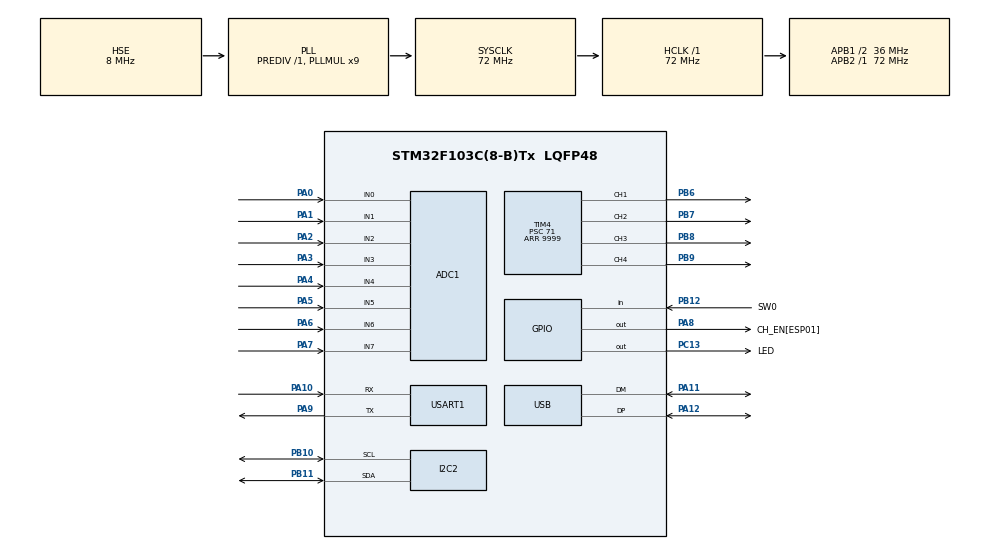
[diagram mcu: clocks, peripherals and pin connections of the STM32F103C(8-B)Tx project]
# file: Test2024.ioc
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ADC1.Channel-0\#ChannelRegularConversion=ADC_CHANNEL_0
ADC1.Channel-1\#ChannelRegularConversion=ADC_CHANNEL_1
ADC1.Channel-2\#ChannelRegularConversion=ADC_CHANNEL_2
ADC1.Channel-3\#ChannelRegularConversion=ADC_CHANNEL_3
ADC1.Channel-4\#ChannelRegularConversion=ADC_CHANNEL_4
ADC1.Channel-5\#ChannelRegularConversion=ADC_CHANNEL_5
ADC1.Channel-6\#ChannelRegularConversion=ADC_CHANNEL_6
ADC1.Channel-7\#ChannelRegularConversion=ADC_CHANNEL_7
ADC1.NbrOfConversion=8
ADC1.NbrOfConversionFlag=1
ADC1.Rank-0\#ChannelRegularConversion=1
ADC1.Rank-1\#ChannelRegularConversion=2
ADC1.Rank-2\#ChannelRegularConversion=3
ADC1.Rank-3\#ChannelRegularConversion=4
ADC1.Rank-4\#ChannelRegularConversion=5
ADC1.Rank-5\#ChannelRegularConversion=6
ADC1.Rank-6\#ChannelRegularConversion=7
ADC1.Rank-7\#ChannelRegularConversion=8
ADC1.SamplingTime-0\#ChannelRegularConversion=ADC_SAMPLETIME_13CYCLES_5
ADC1.SamplingTime-1\#ChannelRegularConversion=ADC_SAMPLETIME_13CYCLES_5
ADC1.SamplingTime-2\#ChannelRegularConversion=ADC_SAMPLETIME_13CYCLES_5
ADC1.SamplingTime-3\#ChannelRegularConversion=ADC_SAMPLETIME_13CYCLES_5
ADC1.SamplingTime-4\#ChannelRegularConversion=ADC_SAMPLETIME_13CYCLES_5
ADC1.SamplingTime-5\#ChannelRegularConversion=ADC_SAMPLETIME_13CYCLES_5
ADC1.SamplingTime-6\#ChannelRegularConversion=ADC_SAMPLETIME_13CYCLES_5
ADC1.SamplingTime-7\#ChannelRegularConversion=ADC_SAMPLETIME_13CYCLES_5
ADC1.master=1
Dma.ADC1.0.Direction=DMA_PERIPH_TO_MEMORY
Dma.ADC1.0.Instance=DMA1_Channel1
Dma.ADC1.0.MemDataAlignment=DMA_MDATAALIGN_HALFWORD
Dma.ADC1.0.MemInc=DMA_MINC_ENABLE
Dma.ADC1.0.Mode=DMA_NORMAL
Dma.ADC1.0.PeriphDataAlignment=DMA_PDATAALIGN_HALFWORD
Dma.ADC1.0.PeriphInc=DMA_PINC_DISABLE
Dma.ADC1.0.Priority=DMA_PRIORITY_LOW
Dma.I2C2_RX.1.Direction=DMA_PERIPH_TO_MEMORY
Dma.I2C2_RX.1.Instance=DMA1_Channel5
Dma.I2C2_RX.1.MemDataAlignment=DMA_MDATAALIGN_BYTE
Dma.I2C2_RX.1.MemInc=DMA_MINC_ENABLE
Dma.I2C2_RX.1.Mode=DMA_NORMAL
Dma.I2C2_RX.1.PeriphDataAlignment=DMA_PDATAALIGN_BYTE
Dma.I2C2_RX.1.PeriphInc=DMA_PINC_DISABLE
Dma.I2C2_RX.1.Priority=DMA_PRIORITY_LOW
Dma.I2C2_TX.2.Direction=DMA_MEMORY_TO_PERIPH
Dma.I2C2_TX.2.Instance=DMA1_Channel4
Dma.I2C2_TX.2.MemDataAlignment=DMA_MDATAALIGN_BYTE
Dma.I2C2_TX.2.MemInc=DMA_MINC_ENABLE
Dma.I2C2_TX.2.Mode=DMA_NORMAL
Dma.I2C2_TX.2.PeriphDataAlignment=DMA_PDATAALIGN_BYTE
Dma.I2C2_TX.2.PeriphInc=DMA_PINC_DISABLE
Dma.I2C2_TX.2.Priority=DMA_PRIORITY_LOW
Dma.Request0=ADC1
Dma.Request1=I2C2_RX
Dma.Request2=I2C2_TX
I2C2.I2C_Mode=I2C_Fast
Mcu.Family=STM32F1
Mcu.Name=STM32F103C(8-B)Tx
Mcu.Package=LQFP48
NVIC.DMA1_Channel1_IRQn=true\:0\:0\:false\:false\:true\:false\:true\:true
NVIC.DMA1_Channel4_IRQn=true\:0\:0\:false\:false\:true\:false\:true\:true
NVIC.DMA1_Channel5_IRQn=true\:0\:0\:false\:false\:true\:false\:true\:true
NVIC.I2C2_EV_IRQn=true\:0\:0\:false\:false\:true\:true\:true\:true
NVIC.PriorityGroup=NVIC_PRIORITYGROUP_4
NVIC.TIM1_UP_IRQn=true\:0\:0\:false\:false\:true\:true\:true\:true
NVIC.USART1_IRQn=true\:0\:0\:false\:false\:true\:true\:true\:true
NVIC.USB_LP_CAN1_RX0_IRQn=true\:0\:0\:false\:false\:true\:false\:true\:true
PA0-WKUP.Signal=ADCx_IN0
PA1.Signal=ADCx_IN1
PA10.Mode=Asynchronous
PA10.Signal=USART1_RX
PA11.Mode=Device
PA11.Signal=USB_DM
PA12.Mode=Device
PA12.Signal=USB_DP
PA13.Mode=Serial_Wire
PA13.Signal=SYS_JTMS-SWDIO
PA14.Mode=Serial_Wire
PA14.Signal=SYS_JTCK-SWCLK
PA2.Signal=ADCx_IN2
PA3.Signal=ADCx_IN3
PA4.Signal=ADCx_IN4
PA5.Signal=ADCx_IN5
PA6.Signal=ADCx_IN6
PA7.Signal=ADCx_IN7
PA8.GPIO_Label=CH_EN[ESP01]
PA8.Signal=GPIO_Output
PA9.Mode=Asynchronous
PA9.Signal=USART1_TX
PB10.Mode=I2C
PB10.Signal=I2C2_SCL
PB11.Mode=I2C
PB11.Signal=I2C2_SDA
PB12.GPIO_Label=SW0
PB12.Signal=GPIO_Input
PB6.Signal=S_TIM4_CH1
PB7.Signal=S_TIM4_CH2
PB8.Signal=S_TIM4_CH3
PB9.Signal=S_TIM4_CH4
PC13-TAMPER-RTC.GPIO_Label=LED
PC13-TAMPER-RTC.Signal=GPIO_Output
PC14-OSC32_IN.Mode=LSE-External-Oscillator
PC14-OSC32_IN.Signal=RCC_OSC32_IN
PC15-OSC32_OUT.Mode=LSE-External-Oscillator
PC15-OSC32_OUT.Signal=RCC_OSC32_OUT
PD0-OSC_IN.Mode=HSE-External-Oscillator
PD0-OSC_IN.Signal=RCC_OSC_IN
PD1-OSC_OUT.Mode=HSE-External-Oscillator
PD1-OSC_OUT.Signal=RCC_OSC_OUT
ProjectManager.HeapSize=0x200
ProjectManager.StackSize=0x400
ProjectManager.TargetToolchain=STM32CubeIDE
RCC.ADCPresc=RCC_ADCPCLK2_DIV6
RCC.AHBFreq_Value=72000000
RCC.APB1CLKDivider=RCC_HCLK_DIV2
RCC.APB1Freq_Value=36000000
RCC.APB1TimFreq_Value=72000000
RCC.APB2Freq_Value=72000000
RCC.APB2TimFreq_Value=72000000
RCC.HCLKFreq_Value=72000000
RCC.PLLMUL=RCC_PLL_MUL9
RCC.SYSCLKFreq_VALUE=72000000
RCC.SYSCLKSource=RCC_SYSCLKSOURCE_PLLCLK
RCC.USBFreq_Value=48000000
RCC.USBPrescaler=RCC_USBCLKSOURCE_PLL_DIV1_5
SH.ADCx_IN0.0=ADC1_IN0,IN0
SH.ADCx_IN1.0=ADC1_IN1,IN1
SH.ADCx_IN2.0=ADC1_IN2,IN2
SH.ADCx_IN3.0=ADC1_IN3,IN3
SH.ADCx_IN4.0=ADC1_IN4,IN4
SH.ADCx_IN5.0=ADC1_IN5,IN5
SH.ADCx_IN6.0=ADC1_IN6,IN6
SH.ADCx_IN7.0=ADC1_IN7,IN7
SH.S_TIM4_CH1.0=TIM4_CH1,PWM Generation1 CH1
SH.S_TIM4_CH2.0=TIM4_CH2,PWM Generation2 CH2
SH.S_TIM4_CH3.0=TIM4_CH3,PWM Generation3 CH3
SH.S_TIM4_CH4.0=TIM4_CH4,PWM Generation4 CH4
TIM1.Period=249
TIM1.Prescaler=71
TIM4.Channel-PWM\ Generation1\ CH1=TIM_CHANNEL_1
TIM4.Channel-PWM\ Generation2\ CH2=TIM_CHANNEL_2
TIM4.Channel-PWM\ Generation3\ CH3=TIM_CHANNEL_3
TIM4.Channel-PWM\ Generation4\ CH4=TIM_CHANNEL_4
TIM4.Period=9999
TIM4.Prescaler=71
USART1.VirtualMode=VM_ASYNC
USB_DEVICE.APP_RX_DATA_SIZE=256
USB_DEVICE.APP_TX_DATA_SIZE=256
USB_DEVICE.CLASS_NAME_FS=CDC
USB_DEVICE.PID_CDC_FS=0x5740
USB_DEVICE.VID=0x483
USB_DEVICE.VirtualMode=Cdc
USB_DEVICE.VirtualModeFS=Cdc_FS
VP_TIM1_VS_ClockSourceINT.Mode=Internal
VP_TIM4_VS_ClockSourceINT.Mode=Internal
VP_USB_DEVICE_VS_USB_DEVICE_CDC_FS.Mode=CDC_FS
board=custom

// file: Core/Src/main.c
/* USER CODE BEGIN Header */
/**
  ******************************************************************************
  * @file           : main.c
  * @brief          : Main program body
  ******************************************************************************
  * @attention
  *
  * Copyright (c) 2024 STMicroelectronics.
  * All rights reserved.
  *
  * This software is licensed under terms that can be found in the LICENSE file
  * in the root directory of this software component.
  * If no LICENSE file comes with this software, it is provided AS-IS.
  *
  ******************************************************************************
  */
/* USER CODE END Header */
#include "main.h"
#include "usb_device.h"

/* USER CODE BEGIN Includes */
#include "usbd_cdc_if.h"
#include "ESP01.h"
#include "UNERBUS.h"
#include "mpu6050.h"
#include "ssd1306.h"
#include "fonts.h"
#include <string.h>
//
/* USER CODE END Includes */

/* USER CODE BEGIN PTD */
typedef union{
	struct{
		uint8_t	ON10MS:	1;
		uint8_t	b1:	1;
		uint8_t	b2:	1;
		uint8_t	b3:	1;
		uint8_t	b4:	1;
		uint8_t	b5:	1;
		uint8_t	b6:	1;
		uint8_t	b7:	1;
	} bit;
	uint8_t byte;
} _uFlag;

typedef union{
	uint8_t		u8[4];
	int8_t		i8[4];
	uint16_t	u16[2];
	int16_t		i16[2];
	uint32_t	u32;
	int32_t		i32;
} _uWork;

typedef enum{
    ACK=0x0D,
    GETALIVE=0xF0,
    STARTCONFIG=0xEE,
    FIRMWARE=0xF1,
    LEDS=0x10,
    PULSADORES=0x12,
    MPU = 0xA2,
    LAST_ADC = 0xA0,
    TEST_MOTORES = 0xA1,
    VELOCIDAD_MOTORES = 0xA4,
    SETMINMAXSERVO = 0xA5,
    SETSENSORSBLACK = 0xA6,
    SETSENSORSWHITE = 0xA7,
    GETSERVOANGLE = 0xA8,
    OTHERS
}_eID;

typedef struct{
	uint16_t buf[64][8];
	uint8_t iBuf;
	uint16_t FilterResults[8];
}_sADC;

typedef struct {
    uint16_t distance;
    uint16_t analogicValue;
}_sLookUpPair;

typedef struct {
    uint16_t Distance[8];
}_sIRInterpolation;

//
/* USER CODE END PTD */

/* USER CODE BEGIN PD */
#define SIZEBUFADC				64
#define SIZEBUFRXPC				128
#define SIZEBUFTXPC				256
#define SIZEBUFRXESP01			128
#define SIZEBUFTXESP01			128
#define SIZEBUFI2C				64

#define	HEARTBEAT_IDLE			0xF4000000
#define	HEARTBEAT_WIFI_READY	0xF5000000
#define	HEARTBEAT_UDP_READY		0xF5400000

#define WIFI_SSID				"POCOX3"
#define WIFI_PASSWORD			"cosocoso"

#define WIFI_UDP_REMOTE_IP		"192.168.79.88"		//La IP de la PC
//#define WIFI_UDP_REMOTE_IP		"192.168.1.18"		//La IP de la PC
#define WIFI_UDP_REMOTE_PORT	30010					//El puerto UDP en la PC
#define WIFI_UDP_LOCAL_PORT		30000

#define I2C_SSD1306_ADDR        (0x3C << 1)
#define I2C_MPU6050_ADDR 		0xD0

#define UPDATEPOSITION			flag1.bit.b1
#define UPDATESCREEN			flag1.bit.b2
#define DODINAMICFILTER			flag1.bit.b3
#define NUM_SENSORS				8
#define WINDOW_SIZE				40
#define Display_WIDTH			128
#define Display_HEIGHT			64

/* USER CODE END PD */

ADC_HandleTypeDef hadc1;
DMA_HandleTypeDef hdma_adc1;

I2C_HandleTypeDef hi2c2;
DMA_HandleTypeDef hdma_i2c2_rx;
DMA_HandleTypeDef hdma_i2c2_tx;

TIM_HandleTypeDef htim1;
TIM_HandleTypeDef htim4;

UART_HandleTypeDef huart1;

/* USER CODE BEGIN PV */
_uWork w;
_uFlag flag1;
_sADC ADC;
_sLookUpPair lookUpPair[] = {
	{100, 92}, {98, 100}, {96, 108}, {94, 117}, {92, 126},
	{90, 136}, {88, 147}, {86, 159}, {84, 171}, {82, 184},
	{80, 199}, {78, 215}, {76, 232}, {74, 250}, {72, 270},
	{70, 292}, {68, 315}, {66, 341}, {64, 370}, {62, 401},
	{60, 436}, {58, 475}, {56, 518}, {54, 565}, {52, 619},
	{50, 679}, {48, 748}, {46, 825}, {44, 914}, {42, 1017},
	{40, 1135}, {38, 1274}, {36, 1436}, {34, 1630}, {32, 1862},
	{30, 2143}, {28, 2489}, {26, 2920}, {24, 3468}, {22, 4176},
};
_sIRInterpolation IRInterpolation;
uint8_t NUM_PAIRS;

_sESP01Handle esp01;
_sUNERBUSHandle unerbusPC;
_sUNERBUSHandle unerbusESP01;
uint16_t currentI2CDeviceAddress;

//_sMPU6050 myMPU;
MPU6050_t MPU6050[SIZEBUFI2C];
uint8_t iwMPU, irMPU;

char localIP[16];
uint8_t bufRXPC[SIZEBUFRXPC], bufTXPC[SIZEBUFTXPC];
uint8_t bufRXESP01[SIZEBUFRXESP01], bufTXESP01[SIZEBUFTXESP01], dataRXESP01;

uint32_t heartbeat, heartbeatmask;
uint8_t time10ms, time100ms, timeOutAliveUDP;

//uint8_t UPDATESCREEN;

char strAux[64];

const uint8_t myDesignBKG[] __attribute__ ((section (".eeprom"), used)) = {
		0x00, 0x00, 0x00, 0x00, 0x00, 0x00, 0x00, 0x01, 0x00, 0x00, 0x00, 0x00, 0x00, 0x00, 0x00, 0x00,
		0x00, 0x00, 0x00, 0x00, 0x00, 0x00, 0x00, 0x01, 0x00, 0x00, 0x00, 0x00, 0x00, 0x00, 0x00, 0x00,
		0x00, 0x00, 0x00, 0x00, 0x00, 0x00, 0x00, 0x01, 0x00, 0x00, 0x00, 0x00, 0x00, 0x00, 0x00, 0x00,
		0x00, 0x00, 0x00, 0x00, 0x00, 0x00, 0x00, 0x01, 0x00, 0x00, 0x00, 0x00, 0x00, 0x00, 0x00, 0x00,
		0x00, 0x00, 0x00, 0x00, 0x00, 0x00, 0x00, 0x01, 0x00, 0x00, 0x00, 0x00, 0x00, 0x00, 0x00, 0x00,
		0x00, 0x00, 0x00, 0x00, 0x00, 0x00, 0x00, 0x01, 0x00, 0x00, 0x00, 0x00, 0x00, 0x00, 0x00, 0x00,
		0x00, 0x00, 0x00, 0x00, 0x00, 0x00, 0x00, 0x01, 0x00, 0x00, 0x00, 0x00, 0x00, 0x00, 0x00, 0x00,
		0x00, 0x00, 0x00, 0x00, 0x00, 0x00, 0x00, 0x01, 0x00, 0x00, 0x00, 0x00, 0x00, 0x00, 0x00, 0x00,
		0x00, 0x00, 0x00, 0x00, 0x00, 0x00, 0x00, 0x01, 0x00, 0x00, 0x00, 0x00, 0x00, 0x00, 0x00, 0x00,
		0x00, 0x00, 0x00, 0x00, 0x00, 0x00, 0x00, 0x01, 0x00, 0x00, 0x00, 0x00, 0x00, 0x00, 0x00, 0x00,
		0x00, 0x00, 0x00, 0x00, 0x00, 0x00, 0x00, 0x01, 0x00, 0x00, 0x00, 0x00, 0x00, 0x00, 0x00, 0x00,
		0x00, 0x00, 0x00, 0x00, 0x00, 0x00, 0x00, 0x01, 0x00, 0x00, 0x00, 0x00, 0x00, 0x00, 0x00, 0x00,
		0x00, 0x00, 0x00, 0x00, 0x00, 0x00, 0x00, 0x01, 0x00, 0x00, 0x00, 0x00, 0x00, 0x00, 0x00, 0x00,
		0x00, 0x00, 0x00, 0x00, 0x00, 0x00, 0x00, 0x01, 0x00, 0x00, 0x00, 0x00, 0x00, 0x00, 0x00, 0x00,
		0xff, 0xff, 0xff, 0xff, 0xff, 0xff, 0xff, 0xff, 0xff, 0xff, 0xff, 0xff, 0xff, 0xff, 0xff, 0xff,
		0x00, 0x00, 0x00, 0x00, 0x00, 0x00, 0x00, 0x00, 0x00, 0x00, 0x00, 0x00, 0x00, 0x00, 0x00, 0x00,
		0x00, 0x00, 0x00, 0x00, 0x00, 0x00, 0x00, 0x00, 0x00, 0x00, 0x00, 0x00, 0x00, 0x00, 0x00, 0x00,
		0x00, 0x00, 0x00, 0x00, 0x00, 0x00, 0x00, 0x00, 0x00, 0x00, 0x00, 0x00, 0x00, 0x00, 0x00, 0x00,
		0x00, 0x00, 0x00, 0x00, 0x00, 0x00, 0x00, 0x00, 0x00, 0x00, 0x00, 0x00, 0x00, 0x00, 0x00, 0x00,
		0x00, 0x00, 0x00, 0x00, 0x00, 0x00, 0x00, 0x00, 0x00, 0x00, 0x00, 0x00, 0x00, 0x00, 0x00, 0x00,
		0x00, 0x00, 0x00, 0x00, 0x00, 0x00, 0x00, 0x00, 0x00, 0x00, 0x00, 0x00, 0x00, 0x00, 0x00, 0x00,
		0x00, 0x00, 0x00, 0x00, 0x00, 0x00, 0x00, 0x00, 0x00, 0x00, 0x00, 0x00, 0x00, 0x00, 0x00, 0x00,
		0x00, 0x00, 0x00, 0x00, 0x00, 0x00, 0x00, 0x00, 0x00, 0x00, 0x00, 0x00, 0x00, 0x00, 0x00, 0x00,
		0x00, 0x00, 0x00, 0x00, 0x00, 0x00, 0x00, 0x00, 0x00, 0x00, 0x00, 0x00, 0x00, 0x00, 0x00, 0x00,
		0x00, 0x00, 0x00, 0x00, 0x00, 0x00, 0x00, 0x00, 0x00, 0x00, 0x00, 0x00, 0x00, 0x00, 0x00, 0x00,
		0x00, 0x00, 0x00, 0x00, 0x00, 0x00, 0x00, 0x00, 0x00, 0x00, 0x00, 0x00, 0x00, 0x00, 0x00, 0x00,
		0x00, 0x00, 0x00, 0x00, 0x00, 0x00, 0x00, 0x00, 0x00, 0x00, 0x00, 0x00, 0x00, 0x00, 0x00, 0x00,
		0x00, 0x00, 0x00, 0x00, 0x00, 0x00, 0x00, 0x00, 0x00, 0x00, 0x00, 0x00, 0x00, 0x00, 0x00, 0x00,
		0x00, 0x00, 0x00, 0x00, 0x00, 0x00, 0x00, 0x00, 0x00, 0x00, 0x00, 0x00, 0x00, 0x00, 0x00, 0x00,
		0x00, 0x00, 0x00, 0x00, 0x00, 0x00, 0x00, 0x00, 0x00, 0x00, 0x00, 0x00, 0x00, 0x00, 0x00, 0x00,
		0x00, 0x00, 0x00, 0x00, 0x00, 0x00, 0x00, 0x00, 0x00, 0x00, 0x00, 0x00, 0x00, 0x00, 0x00, 0x00,
		0x00, 0x00, 0x00, 0x00, 0x00, 0x00, 0x00, 0x00, 0x00, 0x00, 0x00, 0x00, 0x00, 0x00, 0x00, 0x00,
		0x00, 0x00, 0x00, 0x00, 0x00, 0x00, 0x00, 0x00, 0x00, 0x00, 0x00, 0x00, 0x00, 0x00, 0x00, 0x00,
		0x00, 0x00, 0x00, 0x00, 0x00, 0x00, 0x00, 0x00, 0x00, 0x00, 0x00, 0x00, 0x00, 0x00, 0x00, 0x00,
		0x00, 0x00, 0x00, 0x00, 0x00, 0x00, 0x00, 0x00, 0x00, 0x00, 0x00, 0x00, 0x00, 0x00, 0x00, 0x00,
		0x00, 0x00, 0x00, 0x00, 0x00, 0x00, 0x00, 0x00, 0x00, 0x00, 0x00, 0x00, 0x00, 0x00, 0x00, 0x00,
		0x00, 0x00, 0x00, 0x00, 0x00, 0x00, 0x00, 0x00, 0x00, 0x00, 0x00, 0x00, 0x00, 0x00, 0x00, 0x00,
		0x00, 0x00, 0x00, 0x00, 0x00, 0x00, 0x00, 0x00, 0x00, 0x00, 0x00, 0x00, 0x00, 0x00, 0x00, 0x00,
		0x00, 0x00, 0x00, 0x00, 0x00, 0x00, 0x00, 0x00, 0x00, 0x00, 0x00, 0x00, 0x00, 0x00, 0x00, 0x00,
		0x00, 0x00, 0x00, 0x00, 0x00, 0x00, 0x00, 0x00, 0x00, 0x00, 0x00, 0x00, 0x00, 0x00, 0x00, 0x00,
		0x00, 0x00, 0x00, 0x00, 0x00, 0x00, 0x00, 0x00, 0x00, 0x00, 0x00, 0x00, 0x00, 0x00, 0x00, 0x00,
		0x00, 0x00, 0x00, 0x00, 0x00, 0x00, 0x00, 0x00, 0x00, 0x00, 0x00, 0x00, 0x00, 0x00, 0x00, 0x00,
		0x00, 0x00, 0x00, 0x00, 0x00, 0x00, 0x00, 0x00, 0x00, 0x00, 0x00, 0x00, 0x00, 0x00, 0x00, 0x00,
		0x00, 0x00, 0x00, 0x00, 0x00, 0x00, 0x00, 0x00, 0x00, 0x00, 0x00, 0x00, 0x00, 0x00, 0x00, 0x00,
		0x00, 0x00, 0x00, 0x00, 0x00, 0x00, 0x00, 0x00, 0x00, 0x00, 0x00, 0x00, 0x00, 0x00, 0x00, 0x00,
		0x00, 0x00, 0x00, 0x00, 0x00, 0x00, 0x00, 0x00, 0x00, 0x00, 0x00, 0x00, 0x00, 0x00, 0x00, 0x00,
		0x00, 0x00, 0x00, 0x00, 0x00, 0x00, 0x00, 0x00, 0x00, 0x00, 0x00, 0x00, 0x00, 0x00, 0x00, 0x00,
		0x00, 0x00, 0x00, 0x00, 0x00, 0x00, 0x00, 0x00, 0x00, 0x00, 0x00, 0x00, 0x00, 0x00, 0x00, 0x00,
		0x00, 0x00, 0x00, 0x00, 0x00, 0x00, 0x00, 0x00, 0x00, 0x00, 0x00, 0x00, 0x00, 0x00, 0x00, 0x00,
		0x00, 0x00, 0x00, 0x00, 0x00, 0x00, 0x00, 0x00, 0x00, 0x00, 0x00, 0x00, 0x00, 0x00, 0x00, 0x00,
		0x00, 0x00, 0x00, 0x00, 0x00, 0x00, 0x00, 0x00, 0x00, 0x00, 0x00, 0x00, 0x00, 0x00, 0x00, 0x00,
		0x00, 0x00, 0x00, 0x00, 0x00, 0x00, 0x00, 0x00, 0x00, 0x00, 0x00, 0x00, 0x00, 0x00, 0x00, 0x00,
		0x00, 0x00, 0x00, 0x00, 0x00, 0x00, 0x00, 0x00, 0x00, 0x00, 0x00, 0x00, 0x00, 0x00, 0x00, 0x00,
		0x00, 0x00, 0x00, 0x00, 0x00, 0x00, 0x00, 0x00, 0x00, 0x00, 0x00, 0x00, 0x00, 0x00, 0x00, 0x00,
		0x00, 0x00, 0x00, 0x00, 0x00, 0x00, 0x00, 0x00, 0x00, 0x00, 0x00, 0x00, 0x00, 0x00, 0x00, 0x00,
		0x00, 0x00, 0x00, 0x00, 0x00, 0x00, 0x00, 0x00, 0x00, 0x00, 0x00, 0x00, 0x00, 0x00, 0x00, 0x00,
		0x00, 0x00, 0x00, 0x00, 0x00, 0x00, 0x00, 0x00, 0x00, 0x00, 0x00, 0x00, 0x00, 0x00, 0x00, 0x00,
		0x00, 0x00, 0x00, 0x00, 0x00, 0x00, 0x00, 0x00, 0x00, 0x00, 0x00, 0x00, 0x00, 0x00, 0x00, 0x00,
		0x00, 0x00, 0x00, 0x00, 0x00, 0x00, 0x00, 0x00, 0x00, 0x00, 0x00, 0x00, 0x00, 0x00, 0x00, 0x00,
		0x00, 0x00, 0x00, 0x00, 0x00, 0x00, 0x00, 0x00, 0x00, 0x00, 0x00, 0x00, 0x00, 0x00, 0x00, 0x00,
		0x00, 0x00, 0x00, 0x00, 0x00, 0x00, 0x00, 0x00, 0x00, 0x00, 0x00, 0x00, 0x00, 0x00, 0x00, 0x00,
		0x00, 0x00, 0x00, 0x00, 0x00, 0x00, 0x00, 0x00, 0x00, 0x00, 0x00, 0x00, 0x00, 0x00, 0x00, 0x00,
		0x00, 0x00, 0x00, 0x00, 0x00, 0x00, 0x00, 0x00, 0x00, 0x00, 0x00, 0x00, 0x00, 0x00, 0x00, 0x00,
		0x00, 0x00, 0x00, 0x00, 0x00, 0x00, 0x00, 0x00, 0x00, 0x00, 0x00, 0x00, 0x00, 0x00, 0x00, 0x00
		};

//uint8_t prueba __attribute__ ((section(".eeprom")));
//const __attribute__((__section__(".eeprom"), used)) uint8_t prueba;
// el const no es necesario, es solo para almacenar en la flash

// Para guardar en la flash
// HAL_FLASH_Unlock();
// Configurar la estructura de Erase
// Ejecutar HAL_FLASHEx_Erase
// Pasar info a flash con HAL_FLASH_Program
// HAL_FLASH_Lock();
// para encontrar info ir a stm32f1xx_hal_flash_ex.h y stm32f1xx_hal_flash.h

/* USER CODE END PV */

void SystemClock_Config(void);
static void MX_GPIO_Init(void);
static void MX_DMA_Init(void);
static void MX_ADC1_Init(void);
static void MX_I2C2_Init(void);
static void MX_TIM1_Init(void);
static void MX_TIM4_Init(void);
static void MX_USART1_UART_Init(void);
/* USER CODE BEGIN PFP */
void ESP01DoCHPD(uint8_t value);
int  ESP01WriteUSARTByte(uint8_t value);
void ESP01WriteByteToBufRX(uint8_t value);
void ESP01ChangeState(_eESP01STATUS esp01State);

void DecodeCMD(struct UNERBUSHandle *aBus, uint8_t iStartData, uint8_t id);

void Do10ms();

void USBReceive(uint8_t *buf, uint16_t len);

void SendData(uint8_t CMD);

void DinamicFilter_Task();

void ADCtoDistance();
/* USER CODE END PFP */

/* USER CODE BEGIN 0 */
//CALLBACKS
void HAL_TIM_PeriodElapsedCallback(TIM_HandleTypeDef *htim){
	if(htim->Instance == TIM1){
		time10ms--;
		if(!time10ms){
			flag1.bit.ON10MS = 1;
			time10ms = 40;
		}

		HAL_ADC_Start_DMA(&hadc1, (uint32_t *)&ADC.buf[ADC.iBuf], 8);
	}
}

void HAL_ADC_ConvCpltCallback(ADC_HandleTypeDef* hadc){
	ADC.iBuf++;
	ADC.iBuf &= (SIZEBUFADC-1);

}

void HAL_UART_RxCpltCallback(UART_HandleTypeDef *huart){
	if(huart->Instance == USART1){
		ESP01_WriteRX(dataRXESP01);
		HAL_UART_Receive_IT(&huart1, &dataRXESP01, 1);
	}
}

void ESP01DoCHPD(uint8_t value){
	HAL_GPIO_WritePin(CH_EN_GPIO_Port, CH_EN_Pin, value);
}

int ESP01WriteUSARTByte(uint8_t value){
	if(__HAL_UART_GET_FLAG(&huart1, USART_SR_TXE)){
		USART1->DR = value;
		return 1;
	}
	return 0;
}

void ESP01WriteByteToBufRX(uint8_t value){
	UNERBUS_ReceiveByte(&unerbusESP01, value);
}

void ESP01ChangeState(_eESP01STATUS esp01State){
	switch((uint32_t)esp01State){
	case ESP01_WIFI_CONNECTED:
		heartbeat = HEARTBEAT_WIFI_READY;
		break;
	case ESP01_UDPTCP_CONNECTED:
		heartbeat = HEARTBEAT_UDP_READY;
		break;
	case ESP01_UDPTCP_DISCONNECTED:
		heartbeat = HEARTBEAT_WIFI_READY;
		break;
	case ESP01_WIFI_DISCONNECTED:
		heartbeat = HEARTBEAT_IDLE;
		break;
	}
}

void HAL_I2C_MemRxCpltCallback(I2C_HandleTypeDef *hi2c)
{
	if (currentI2CDeviceAddress == I2C_MPU6050_ADDR)
	{
		iwMPU++;
		iwMPU &= (SIZEBUFI2C-1);
	}
	else if (currentI2CDeviceAddress == I2C_SSD1306_ADDR)
	{

	}
}

void HAL_I2C_MemTxCpltCallback(I2C_HandleTypeDef *hi2c)
{
	if (currentI2CDeviceAddress == I2C_MPU6050_ADDR)
	{

	}
	else if (currentI2CDeviceAddress == I2C_SSD1306_ADDR)
	{

	}
}

/**
 * iStartData sirve para saber el que parte del buf de recepción esta la data
 */
void DecodeCMD(struct UNERBUSHandle *aBus, uint8_t iStartData, uint8_t id){
	uint8_t aux8;
	uint8_t length = 0;

	switch(id){
	case 0xE0://GET LOCAL IP
		UNERBUS_Write(aBus, (uint8_t *)ESP01_GetLocalIP(), 16);
		length = 17;
		break;
	case GETALIVE://ALIVE
		UNERBUS_WriteByte(aBus, ACK);
		length = 2;
		break;
	case LAST_ADC:
//		sprintf (strAux, "ADC:%hd,%hd,%hd,%hd,%hd,%hd,%hd,%hd\r\n", bufADC[aux8][0],
//				bufADC[aux8][1], bufADC[aux8][2], bufADC[aux8][3],
//				bufADC[aux8][4], bufADC[aux8][5], bufADC[aux8][6], bufADC[aux8][7]);
		UNERBUS_Write(aBus, (uint8_t*)&IRInterpolation.Distance, 16);
		//UNERBUS_WriteConstString(&unerbusPC, strAux, 1);
		length = 17;
		break;
	case MPU:
		aux8 = iwMPU - 1;
		aux8 &= (SIZEBUFI2C - 1);
		UNERBUS_Write(aBus, (uint8_t*)&MPU6050[aux8], 14);
		length = 15;
		break;
	}

	if(length){
		UNERBUS_Send(aBus, id, length);
	}
}

void SendData(uint8_t CMD) {
	DecodeCMD(&unerbusESP01, unerbusESP01.rx.iData, CMD);
	DecodeCMD(&unerbusPC, unerbusPC.rx.iData, CMD);
}

void DinamicFilter_Task(){
	for (int i = 0; i < NUM_SENSORS; i++) {
		uint32_t sum = 0;
		for (int j = 0; j < WINDOW_SIZE; j++) {
			uint8_t index = (ADC.iBuf + SIZEBUFADC - j - 1);
			index &= (SIZEBUFADC-1);
			sum += ADC.buf[index][i];
		}
		ADC.FilterResults[i] = sum / WINDOW_SIZE;
	}
}

void ADCtoDistance(){
	for (uint8_t j = 0; j < NUM_SENSORS - 1; j++) {
		if (ADC.FilterResults[j] > lookUpPair[NUM_PAIRS - 1].analogicValue) {
			IRInterpolation.Distance[j] = 11111;
		} else {
			for (uint8_t i = 0; i < NUM_PAIRS - 1; i++) {
				if (ADC.FilterResults[j] >= lookUpPair[i].analogicValue && ADC.FilterResults[j] <= lookUpPair[i + 1].analogicValue) {
					uint16_t x1 = lookUpPair[i].analogicValue;
					uint16_t y2 = lookUpPair[i].distance;
					uint16_t x2 = lookUpPair[i + 1].analogicValue;
					uint16_t y1 = lookUpPair[i + 1].distance;

					// Realizar la interpolación lineal
					IRInterpolation.Distance[j] = y1 + ((ADC.FilterResults[j] - x1) * (y2 - y1)) / (x2 - x1);
				}
			}
		}
	}
}

void Do10ms(){
	//static uint16_t aux16 = 0;

	flag1.bit.ON10MS = 0;

	if(time100ms)
		time100ms--;

	ESP01_Timeout10ms();
	UNERBUS_Timeout(&unerbusESP01);
	UNERBUS_Timeout(&unerbusPC);
	DODINAMICFILTER = 1;

}

void Do100ms(){
	static uint8_t time1000ms = 10;
	static uint8_t aux = 0;
	static uint16_t aux16 = 0;

	time100ms = 10;

	UPDATEPOSITION = 1;
	SendData(MPU);

	ADCtoDistance();
	SendData(LAST_ADC);

	if (time1000ms) {
		time1000ms--;
	} else {
		time1000ms = 10;

		aux16 += 100;

		if (aux16 >= 7500)
			aux16 = 0;

		__HAL_TIM_SET_COMPARE(&htim4, TIM_CHANNEL_1, aux16);
		__HAL_TIM_SET_COMPARE(&htim4, TIM_CHANNEL_2, 0);
		__HAL_TIM_SET_COMPARE(&htim4, TIM_CHANNEL_3, aux16);
		__HAL_TIM_SET_COMPARE(&htim4, TIM_CHANNEL_4, 0);
	}

	if(heartbeatmask & heartbeat)
		HAL_GPIO_WritePin(LED_GPIO_Port, LED_Pin, GPIO_PIN_RESET);
	else
		HAL_GPIO_WritePin(LED_GPIO_Port, LED_Pin, GPIO_PIN_SET);

	heartbeatmask >>= 1;
	if(!heartbeatmask)
		heartbeatmask = 0x80000000;

	if(timeOutAliveUDP)
		timeOutAliveUDP--;

}

void USBReceive(uint8_t *buf, uint16_t len){
	UNERBUS_ReceiveBuf(&unerbusPC, buf, len);
}

/* USER CODE END 0 */

int main(void)
{

  /* USER CODE BEGIN 1 */
	heartbeat = HEARTBEAT_IDLE;
	heartbeatmask = 0x80000000;

	time10ms = 40;
	time100ms = 10;
	timeOutAliveUDP = 10;

	ADC.iBuf = 0;

	NUM_PAIRS = sizeof(lookUpPair) / sizeof(lookUpPair[0]);

	iwMPU = 0;
	irMPU = 0;

	UPDATESCREEN = 0;
	UPDATEPOSITION = 0;
	DODINAMICFILTER = 0;

	currentI2CDeviceAddress = 0;

	esp01.DoCHPD = ESP01DoCHPD;
	esp01.WriteByteToBufRX = ESP01WriteByteToBufRX;
	esp01.WriteUSARTByte = ESP01WriteUSARTByte;

	unerbusESP01.MyDataReady = DecodeCMD;
	unerbusESP01.WriteUSARTByte = NULL;
	unerbusESP01.rx.buf = bufRXESP01;
	unerbusESP01.rx.maxIndexRingBuf = (SIZEBUFRXESP01 - 1);
	unerbusESP01.tx.buf = bufTXESP01;
	unerbusESP01.tx.maxIndexRingBuf = (SIZEBUFTXESP01 - 1);

	unerbusPC.MyDataReady = DecodeCMD;
	unerbusPC.WriteUSARTByte = NULL;
	unerbusPC.rx.buf = bufRXPC;
	unerbusPC.rx.maxIndexRingBuf = (SIZEBUFRXPC - 1);
	unerbusPC.tx.buf = bufTXPC;
	unerbusPC.tx.maxIndexRingBuf = (SIZEBUFTXPC - 1);

  /* USER CODE END 1 */

  /* MCU Configuration--------------------------------------------------------*/

  /* Reset of all peripherals, Initializes the Flash interface and the Systick. */
  HAL_Init();

  /* USER CODE BEGIN Init */
  HAL_Delay(1000);
  /* USER CODE END Init */

  /* Configure the system clock */
  SystemClock_Config();

  /* Initialize all configured peripherals */
  MX_GPIO_Init();
  MX_DMA_Init();
  MX_USB_DEVICE_Init();
  MX_ADC1_Init();
  MX_I2C2_Init();
  MX_TIM1_Init();
  MX_TIM4_Init();
  MX_USART1_UART_Init();
  /* USER CODE BEGIN 2 */
  CDC_AttachRxData(USBReceive);

  HAL_TIM_Base_Start_IT(&htim1);

  HAL_TIM_Base_Start(&htim4);
  HAL_TIM_PWM_Start(&htim4, TIM_CHANNEL_1);
  HAL_TIM_PWM_Start(&htim4, TIM_CHANNEL_2);
  HAL_TIM_PWM_Start(&htim4, TIM_CHANNEL_3);
  HAL_TIM_PWM_Start(&htim4, TIM_CHANNEL_4);

  __HAL_TIM_SET_COMPARE(&htim4, TIM_CHANNEL_1, 0);
  __HAL_TIM_SET_COMPARE(&htim4, TIM_CHANNEL_2, 5000);
  __HAL_TIM_SET_COMPARE(&htim4, TIM_CHANNEL_3, 0);
  __HAL_TIM_SET_COMPARE(&htim4, TIM_CHANNEL_4, 5000);

//  TIM4->CCR1 = 5000;
//  TIM4->CCR2 = 0;
//  TIM4->CCR3 = 5000;
//  TIM4->CCR4 = 0;

  ESP01_Init(&esp01);
  UNERBUS_Init(&unerbusESP01);
  UNERBUS_Init(&unerbusPC);

  ESP01_AttachChangeState(ESP01ChangeState);
  ESP01_SetWIFI(WIFI_SSID, WIFI_PASSWORD);
  ESP01_StartUDP(WIFI_UDP_REMOTE_IP, WIFI_UDP_REMOTE_PORT, WIFI_UDP_LOCAL_PORT);

  HAL_UART_Receive_IT(&huart1, &dataRXESP01, 1);

  //while (HAL_I2C_IsDeviceReady(&hi2c2, 0xD0, 1, 100));

  MPU6050_Init(&hi2c2);

  ssd1306_Init(&hi2c2);

  ssd1306_DrawBitmap(Display_WIDTH, Display_HEIGHT, myDesignBKG);
  sprintf(strAux, "IDLE");
  ssd1306_SetCursor(((63-strlen(strAux)*7)/2)-1, 2);
  ssd1306_WriteString(strAux, Font_7x10, White);
  sprintf(strAux, "USB");
  ssd1306_SetCursor(64+((63-strlen(strAux)*7)/2)-1, 2);
  ssd1306_WriteString(strAux, Font_7x10, White);
  sprintf(strAux, "Gx:000");
  ssd1306_SetCursor(((128-strlen(strAux)*7)/2), 15 + 3);
  ssd1306_WriteString(strAux, Font_7x10, White);
  sprintf(strAux, "Gy:000");
  ssd1306_SetCursor(((128-strlen(strAux)*7)/2), 31 + 3);
  ssd1306_WriteString(strAux, Font_7x10, White);
  sprintf(strAux, "Gz:000");
  ssd1306_SetCursor(((128-strlen(strAux)*7)/2), 47 + 3);
  ssd1306_WriteString(strAux, Font_7x10, White);
  UPDATESCREEN = 1;

  /* USER CODE END 2 */

  /* Infinite loop */
  /* USER CODE BEGIN WHILE */
//  while (1){
//
//	  if(!timeOutAliveUDP){
//		  timeOutAliveUDP = 10;
//		  UNERBUS_WriteByte(&unerbusESP01, 0x0D); 	// WriteByte y Send van una tras la otra
//		  UNERBUS_Send(&unerbusESP01, 0xF0, 2);		// Send toma el payload anterior y lo manda
//
//		  //UNERBUS_WriteConstString(&unerbusPC, "UNER\x03:\xF0\x0D\xC8", 1);
//		  //UNERBUS_WriteConstString(&unerbusPC, " El ALIVE", 1);
//
//		  //UNERBUS_WriteConstString(&unerbusESP01, "UNER\x03:\xF0\x0D\xC8", 1);
//		  //UNERBUS_WriteConstString(&unerbusESP01, " El ALIVE", 1);
//	  }
//
//	  if(!time100ms)
//		  Do100ms();
//
//	  if(flag1.bit.ON10MS)
//		  Do10ms();
//  }
  while (1)
  {
    /* USER CODE END WHILE */

    /* USER CODE BEGIN 3 */
	  if(!timeOutAliveUDP){
		  timeOutAliveUDP = 10;
		  SendData(GETALIVE);
	  }

	  if(!time100ms)
		  Do100ms();

	  if(flag1.bit.ON10MS)
		  Do10ms();

	  if(unerbusESP01.tx.iRead != unerbusESP01.tx.iWrite){
		  w.u8[0] = unerbusESP01.tx.iWrite - unerbusESP01.tx.iRead;
		  w.u8[0] &= unerbusESP01.tx.maxIndexRingBuf;
		  if(ESP01_Send(unerbusESP01.tx.buf, unerbusESP01.tx.iRead, w.u8[0], unerbusESP01.tx.maxIndexRingBuf+1) == ESP01_SEND_READY)
			  unerbusESP01.tx.iRead = unerbusESP01.tx.iWrite;
	  }

	  if(unerbusPC.tx.iRead != unerbusPC.tx.iWrite){
		  if(unerbusPC.tx.iRead < unerbusPC.tx.iWrite)
			  w.u8[0] = unerbusPC.tx.iWrite - unerbusPC.tx.iRead;
		  else
			  w.u8[0] = unerbusPC.tx.maxIndexRingBuf+1 - unerbusPC.tx.iRead;

		  if(CDC_Transmit_FS(&unerbusPC.tx.buf[unerbusPC.tx.iRead], w.u8[0]) == USBD_OK){
			  unerbusPC.tx.iRead += w.u8[0];
			  unerbusPC.tx.iRead &= unerbusPC.tx.maxIndexRingBuf;
		  }
	  }

	  if ((HAL_I2C_GetState(&hi2c2) == HAL_I2C_STATE_READY) && UPDATESCREEN) {
		  currentI2CDeviceAddress = I2C_SSD1306_ADDR;
		  UPDATESCREEN = ssd1306_UpdateScreen_DMA(&hi2c2);
	  }

	  if ((HAL_I2C_GetState(&hi2c2) == HAL_I2C_STATE_READY) && UPDATEPOSITION) {
		  currentI2CDeviceAddress = I2C_MPU6050_ADDR;
		  MPU6050_Read_All(&hi2c2, &MPU6050[iwMPU]);
		  UPDATEPOSITION = 0;
	  }

	  if (DODINAMICFILTER) {
		  DODINAMICFILTER = 0;
		  DinamicFilter_Task();
	  }

	  ESP01_Task();

	  UNERBUS_Task(&unerbusESP01);

	  UNERBUS_Task(&unerbusPC);

  }
  /* USER CODE END 3 */
}

void SystemClock_Config(void)
{
  RCC_OscInitTypeDef RCC_OscInitStruct = {0};
  RCC_ClkInitTypeDef RCC_ClkInitStruct = {0};
  RCC_PeriphCLKInitTypeDef PeriphClkInit = {0};

  /** Initializes the RCC Oscillators according to the specified parameters
  * in the RCC_OscInitTypeDef structure.
  */
  RCC_OscInitStruct.OscillatorType = RCC_OSCILLATORTYPE_HSE;
  RCC_OscInitStruct.HSEState = RCC_HSE_ON;
  RCC_OscInitStruct.HSEPredivValue = RCC_HSE_PREDIV_DIV1;
  RCC_OscInitStruct.HSIState = RCC_HSI_ON;
  RCC_OscInitStruct.PLL.PLLState = RCC_PLL_ON;
  RCC_OscInitStruct.PLL.PLLSource = RCC_PLLSOURCE_HSE;
  RCC_OscInitStruct.PLL.PLLMUL = RCC_PLL_MUL9;
  if (HAL_RCC_OscConfig(&RCC_OscInitStruct) != HAL_OK)
  {
    Error_Handler();
  }

  /** Initializes the CPU, AHB and APB buses clocks
  */
  RCC_ClkInitStruct.ClockType = RCC_CLOCKTYPE_HCLK|RCC_CLOCKTYPE_SYSCLK
                              |RCC_CLOCKTYPE_PCLK1|RCC_CLOCKTYPE_PCLK2;
  RCC_ClkInitStruct.SYSCLKSource = RCC_SYSCLKSOURCE_PLLCLK;
  RCC_ClkInitStruct.AHBCLKDivider = RCC_SYSCLK_DIV1;
  RCC_ClkInitStruct.APB1CLKDivider = RCC_HCLK_DIV2;
  RCC_ClkInitStruct.APB2CLKDivider = RCC_HCLK_DIV1;

  if (HAL_RCC_ClockConfig(&RCC_ClkInitStruct, FLASH_LATENCY_2) != HAL_OK)
  {
    Error_Handler();
  }
  PeriphClkInit.PeriphClockSelection = RCC_PERIPHCLK_ADC|RCC_PERIPHCLK_USB;
  PeriphClkInit.AdcClockSelection = RCC_ADCPCLK2_DIV6;
  PeriphClkInit.UsbClockSelection = RCC_USBCLKSOURCE_PLL_DIV1_5;
  if (HAL_RCCEx_PeriphCLKConfig(&PeriphClkInit) != HAL_OK)
  {
    Error_Handler();
  }
}

static void MX_ADC1_Init(void)
{

  ADC_ChannelConfTypeDef sConfig = {0};

  /** Common config
  */
  hadc1.Instance = ADC1;
  hadc1.Init.ScanConvMode = ADC_SCAN_ENABLE;
  hadc1.Init.ContinuousConvMode = DISABLE;
  hadc1.Init.DiscontinuousConvMode = DISABLE;
  hadc1.Init.ExternalTrigConv = ADC_SOFTWARE_START;
  hadc1.Init.DataAlign = ADC_DATAALIGN_RIGHT;
  hadc1.Init.NbrOfConversion = 8;
  if (HAL_ADC_Init(&hadc1) != HAL_OK)
  {
    Error_Handler();
  }

  /** Configure Regular Channel
  */
  sConfig.Channel = ADC_CHANNEL_0;
  sConfig.Rank = ADC_REGULAR_RANK_1;
  sConfig.SamplingTime = ADC_SAMPLETIME_13CYCLES_5;
  if (HAL_ADC_ConfigChannel(&hadc1, &sConfig) != HAL_OK)
  {
    Error_Handler();
  }

  /** Configure Regular Channel
  */
  sConfig.Channel = ADC_CHANNEL_1;
  sConfig.Rank = ADC_REGULAR_RANK_2;
  if (HAL_ADC_ConfigChannel(&hadc1, &sConfig) != HAL_OK)
  {
    Error_Handler();
  }

  /** Configure Regular Channel
  */
  sConfig.Channel = ADC_CHANNEL_2;
  sConfig.Rank = ADC_REGULAR_RANK_3;
  if (HAL_ADC_ConfigChannel(&hadc1, &sConfig) != HAL_OK)
  {
    Error_Handler();
  }

  /** Configure Regular Channel
  */
  sConfig.Channel = ADC_CHANNEL_3;
  sConfig.Rank = ADC_REGULAR_RANK_4;
  if (HAL_ADC_ConfigChannel(&hadc1, &sConfig) != HAL_OK)
  {
    Error_Handler();
  }

  /** Configure Regular Channel
  */
  sConfig.Channel = ADC_CHANNEL_4;
  sConfig.Rank = ADC_REGULAR_RANK_5;
  if (HAL_ADC_ConfigChannel(&hadc1, &sConfig) != HAL_OK)
  {
    Error_Handler();
  }

  /** Configure Regular Channel
  */
  sConfig.Channel = ADC_CHANNEL_5;
  sConfig.Rank = ADC_REGULAR_RANK_6;
  if (HAL_ADC_ConfigChannel(&hadc1, &sConfig) != HAL_OK)
  {
    Error_Handler();
  }

  /** Configure Regular Channel
  */
  sConfig.Channel = ADC_CHANNEL_6;
  sConfig.Rank = ADC_REGULAR_RANK_7;
  if (HAL_ADC_ConfigChannel(&hadc1, &sConfig) != HAL_OK)
  {
    Error_Handler();
  }

  /** Configure Regular Channel
  */
  sConfig.Channel = ADC_CHANNEL_7;
  sConfig.Rank = ADC_REGULAR_RANK_8;
  if (HAL_ADC_ConfigChannel(&hadc1, &sConfig) != HAL_OK)
  {
    Error_Handler();
  }

}

static void MX_I2C2_Init(void)
{

  hi2c2.Instance = I2C2;
  hi2c2.Init.ClockSpeed = 400000;
  hi2c2.Init.DutyCycle = I2C_DUTYCYCLE_2;
  hi2c2.Init.OwnAddress1 = 0;
  hi2c2.Init.AddressingMode = I2C_ADDRESSINGMODE_7BIT;
  hi2c2.Init.DualAddressMode = I2C_DUALADDRESS_DISABLE;
  hi2c2.Init.OwnAddress2 = 0;
  hi2c2.Init.GeneralCallMode = I2C_GENERALCALL_DISABLE;
  hi2c2.Init.NoStretchMode = I2C_NOSTRETCH_DISABLE;
  if (HAL_I2C_Init(&hi2c2) != HAL_OK)
  {
    Error_Handler();
  }

}

static void MX_TIM1_Init(void)
{

  TIM_ClockConfigTypeDef sClockSourceConfig = {0};
  TIM_MasterConfigTypeDef sMasterConfig = {0};

  htim1.Instance = TIM1;
  htim1.Init.Prescaler = 71;
  htim1.Init.CounterMode = TIM_COUNTERMODE_UP;
  htim1.Init.Period = 249;
  htim1.Init.ClockDivision = TIM_CLOCKDIVISION_DIV1;
  htim1.Init.RepetitionCounter = 0;
  htim1.Init.AutoReloadPreload = TIM_AUTORELOAD_PRELOAD_DISABLE;
  if (HAL_TIM_Base_Init(&htim1) != HAL_OK)
  {
    Error_Handler();
  }
  sClockSourceConfig.ClockSource = TIM_CLOCKSOURCE_INTERNAL;
  if (HAL_TIM_ConfigClockSource(&htim1, &sClockSourceConfig) != HAL_OK)
  {
    Error_Handler();
  }
  sMasterConfig.MasterOutputTrigger = TIM_TRGO_RESET;
  sMasterConfig.MasterSlaveMode = TIM_MASTERSLAVEMODE_DISABLE;
  if (HAL_TIMEx_MasterConfigSynchronization(&htim1, &sMasterConfig) != HAL_OK)
  {
    Error_Handler();
  }

}

static void MX_TIM4_Init(void)
{

  TIM_ClockConfigTypeDef sClockSourceConfig = {0};
  TIM_MasterConfigTypeDef sMasterConfig = {0};
  TIM_OC_InitTypeDef sConfigOC = {0};

  htim4.Instance = TIM4;
  htim4.Init.Prescaler = 71;
  htim4.Init.CounterMode = TIM_COUNTERMODE_UP;
  htim4.Init.Period = 9999;
  htim4.Init.ClockDivision = TIM_CLOCKDIVISION_DIV1;
  htim4.Init.AutoReloadPreload = TIM_AUTORELOAD_PRELOAD_DISABLE;
  if (HAL_TIM_Base_Init(&htim4) != HAL_OK)
  {
    Error_Handler();
  }
  sClockSourceConfig.ClockSource = TIM_CLOCKSOURCE_INTERNAL;
  if (HAL_TIM_ConfigClockSource(&htim4, &sClockSourceConfig) != HAL_OK)
  {
    Error_Handler();
  }
  if (HAL_TIM_PWM_Init(&htim4) != HAL_OK)
  {
    Error_Handler();
  }
  sMasterConfig.MasterOutputTrigger = TIM_TRGO_RESET;
  sMasterConfig.MasterSlaveMode = TIM_MASTERSLAVEMODE_DISABLE;
  if (HAL_TIMEx_MasterConfigSynchronization(&htim4, &sMasterConfig) != HAL_OK)
  {
    Error_Handler();
  }
  sConfigOC.OCMode = TIM_OCMODE_PWM1;
  sConfigOC.Pulse = 0;
  sConfigOC.OCPolarity = TIM_OCPOLARITY_HIGH;
  sConfigOC.OCFastMode = TIM_OCFAST_DISABLE;
  if (HAL_TIM_PWM_ConfigChannel(&htim4, &sConfigOC, TIM_CHANNEL_1) != HAL_OK)
  {
    Error_Handler();
  }
  if (HAL_TIM_PWM_ConfigChannel(&htim4, &sConfigOC, TIM_CHANNEL_2) != HAL_OK)
  {
    Error_Handler();
  }
  if (HAL_TIM_PWM_ConfigChannel(&htim4, &sConfigOC, TIM_CHANNEL_3) != HAL_OK)
  {
    Error_Handler();
  }
  if (HAL_TIM_PWM_ConfigChannel(&htim4, &sConfigOC, TIM_CHANNEL_4) != HAL_OK)
  {
    Error_Handler();
  }
  HAL_TIM_MspPostInit(&htim4);

}

static void MX_USART1_UART_Init(void)
{

  huart1.Instance = USART1;
  huart1.Init.BaudRate = 115200;
  huart1.Init.WordLength = UART_WORDLENGTH_8B;
  huart1.Init.StopBits = UART_STOPBITS_1;
  huart1.Init.Parity = UART_PARITY_NONE;
  huart1.Init.Mode = UART_MODE_TX_RX;
  huart1.Init.HwFlowCtl = UART_HWCONTROL_NONE;
  huart1.Init.OverSampling = UART_OVERSAMPLING_16;
  if (HAL_UART_Init(&huart1) != HAL_OK)
  {
    Error_Handler();
  }

}

static void MX_DMA_Init(void)
{

  /* DMA controller clock enable */
  __HAL_RCC_DMA1_CLK_ENABLE();

  /* DMA interrupt init */
  /* DMA1_Channel1_IRQn interrupt configuration */
  HAL_NVIC_SetPriority(DMA1_Channel1_IRQn, 0, 0);
  HAL_NVIC_EnableIRQ(DMA1_Channel1_IRQn);
  /* DMA1_Channel4_IRQn interrupt configuration */
  HAL_NVIC_SetPriority(DMA1_Channel4_IRQn, 0, 0);
  HAL_NVIC_EnableIRQ(DMA1_Channel4_IRQn);
  /* DMA1_Channel5_IRQn interrupt configuration */
  HAL_NVIC_SetPriority(DMA1_Channel5_IRQn, 0, 0);
  HAL_NVIC_EnableIRQ(DMA1_Channel5_IRQn);

}

static void MX_GPIO_Init(void)
{
  GPIO_InitTypeDef GPIO_InitStruct = {0};

  /* GPIO Ports Clock Enable */
  __HAL_RCC_GPIOC_CLK_ENABLE();
  __HAL_RCC_GPIOD_CLK_ENABLE();
  __HAL_RCC_GPIOA_CLK_ENABLE();
  __HAL_RCC_GPIOB_CLK_ENABLE();

  /*Configure GPIO pin Output Level */
  HAL_GPIO_WritePin(LED_GPIO_Port, LED_Pin, GPIO_PIN_RESET);

  /*Configure GPIO pin Output Level */
  HAL_GPIO_WritePin(CH_EN_GPIO_Port, CH_EN_Pin, GPIO_PIN_RESET);

  /*Configure GPIO pin : LED_Pin */
  GPIO_InitStruct.Pin = LED_Pin;
  GPIO_InitStruct.Mode = GPIO_MODE_OUTPUT_PP;
  GPIO_InitStruct.Pull = GPIO_NOPULL;
  GPIO_InitStruct.Speed = GPIO_SPEED_FREQ_LOW;
  HAL_GPIO_Init(LED_GPIO_Port, &GPIO_InitStruct);

  /*Configure GPIO pin : SW0_Pin */
  GPIO_InitStruct.Pin = SW0_Pin;
  GPIO_InitStruct.Mode = GPIO_MODE_INPUT;
  GPIO_InitStruct.Pull = GPIO_NOPULL;
  HAL_GPIO_Init(SW0_GPIO_Port, &GPIO_InitStruct);

  /*Configure GPIO pin : CH_EN_Pin */
  GPIO_InitStruct.Pin = CH_EN_Pin;
  GPIO_InitStruct.Mode = GPIO_MODE_OUTPUT_PP;
  GPIO_InitStruct.Pull = GPIO_NOPULL;
  GPIO_InitStruct.Speed = GPIO_SPEED_FREQ_LOW;
  HAL_GPIO_Init(CH_EN_GPIO_Port, &GPIO_InitStruct);

}

void Error_Handler(void)
{
  __disable_irq();
  while (1)
  {
  }
}
